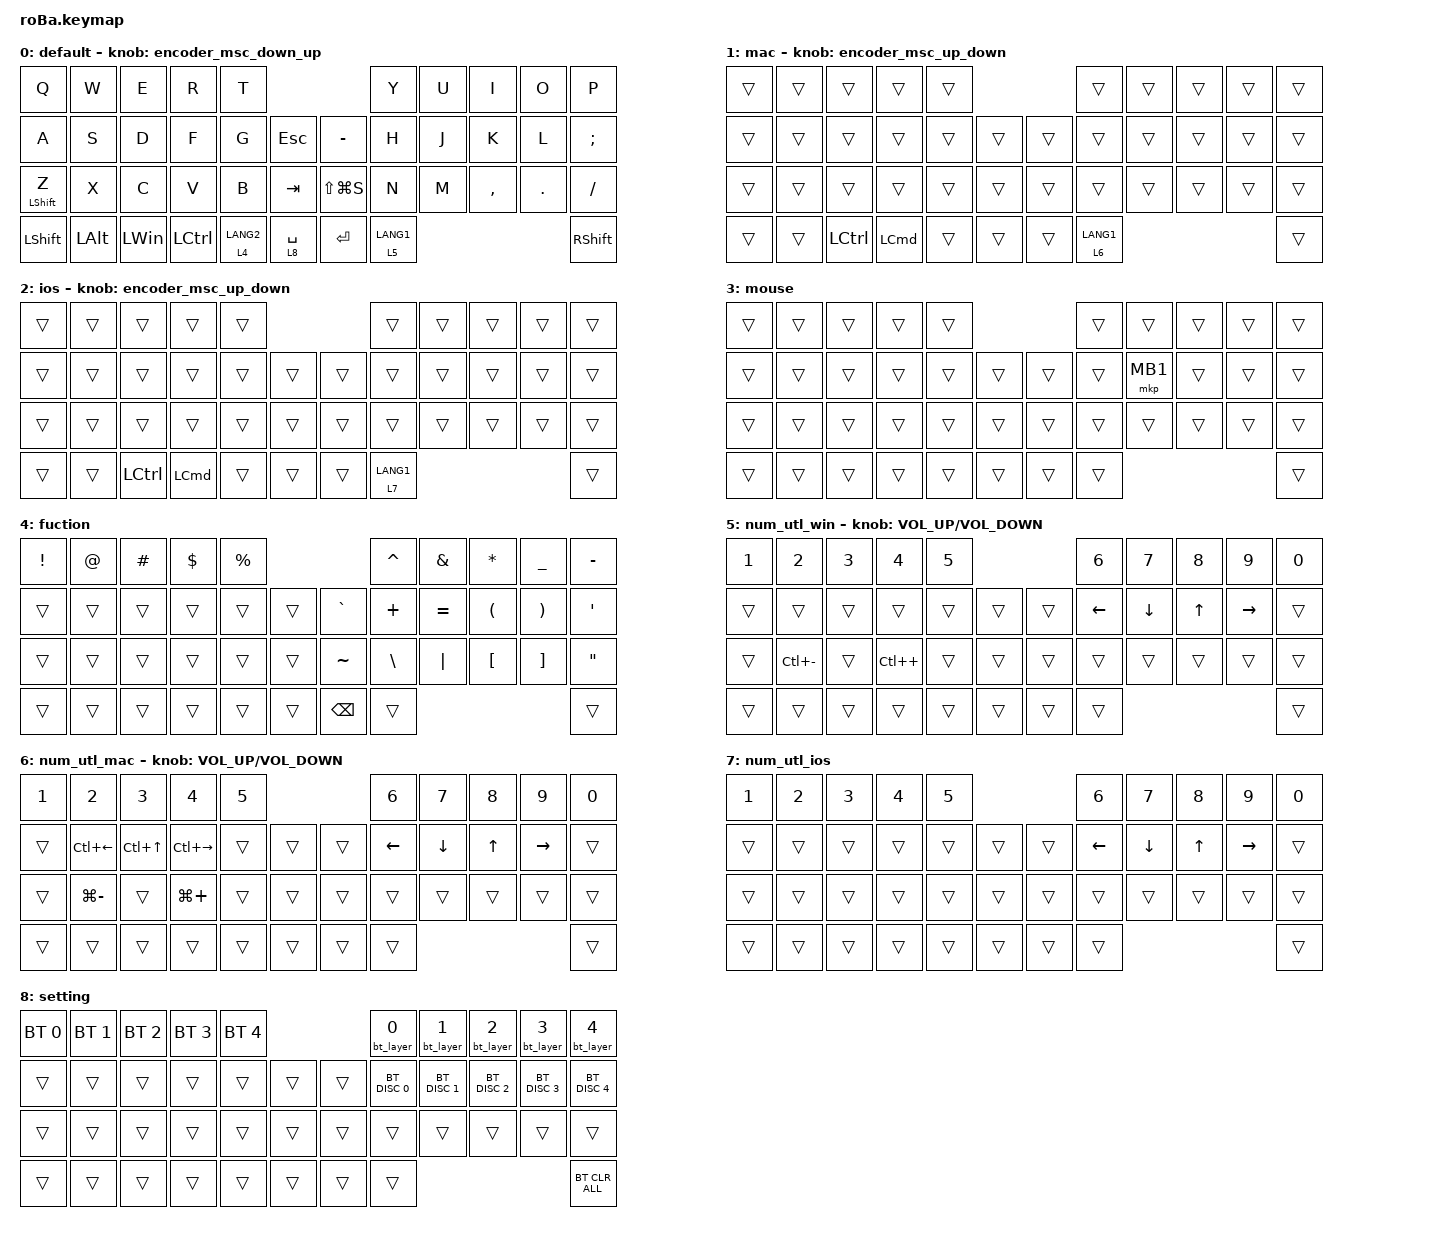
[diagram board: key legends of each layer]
#include <behaviors/bt_layer.dtsi>
#include <behaviors.dtsi>
#include <dt-bindings/zmk/bt.h>
#include <dt-bindings/zmk/keys.h>
#include <dt-bindings/zmk/pointing.h>

#define ZMK_POINTING_DEFAULT_SCRL_VAL 80

&mt {
    flavor = "balanced";
    quick-tap-ms = <0>;
};

&trackball {
    automouse-layer = <3>;
    scroll-layers = <8>;

    // arrows {
    //     layers = <3>;
    //     bindings =
    //         <&kp RIGHT_ARROW>,
    //         <&kp LEFT_ARROW>,
    //         <&kp UP_ARROW>,
    //         <&kp DOWN_ARROW>;
    //     tick = <10>;
    //     wait-ms = <5>;
    //     tap-ms = <5>;
    // };
};

/ {
    combos {
        compatible = "zmk,combos";

        tab {
            bindings = <&kp TAB>;
            key-positions = <0 1>;
        };

        click {
            bindings = <&mkp MB1>;
            key-positions = <18 19>;
        };

        rclick {
            bindings = <&mkp MB2>;
            key-positions = <19 20>;
        };
    };

    macros {
        to_layer_0: to_layer_0 {
            compatible = "zmk,behavior-macro-one-param";
            #binding-cells = <1>;
            bindings = <&to 0 &macro_param_1to1 &kp MACRO_PLACEHOLDER>;
            label = "TO_LAYER_0";
        };
    };

    behaviors {
        lt_to_layer_0: lt_to_layer_0 {
            compatible = "zmk,behavior-hold-tap";
            label = "LAYER_TAP_TO_0";
            bindings = <&mo>, <&to_layer_0>;

            #binding-cells = <2>;
            tapping-term-ms = <200>;
        };

        encoder_msc_down_up: encoder_msc_down_up {
            compatible = "zmk,behavior-sensor-rotate";
            label = "ENCODER_MSC_DOWN_UP";
            #sensor-binding-cells = <0>;
            bindings = <&msc SCRL_DOWN>, <&msc SCRL_UP>;

            tap-ms = <20>;
        };

        encoder_msc_up_down: encoder_msc_up_down {
            compatible = "zmk,behavior-sensor-rotate";
            label = "ENCODER_MSC_UP_DOWN";
            #sensor-binding-cells = <0>;
            bindings = <&msc SCRL_UP>, <&msc SCRL_DOWN>;

            tap-ms = <20>;
        };
    };

    keymap {
        compatible = "zmk,keymap";

        default {
            bindings = <
&kp Q             &kp W         &kp E         &kp R      &kp T                                        &kp Y        &kp U  &kp I      &kp O    &kp P
&kp A             &kp S         &kp D         &kp F      &kp G        &kp ESCAPE       &kp MINUS      &kp H        &kp J  &kp K      &kp L    &kp SEMI
&mt LEFT_SHIFT Z  &kp X         &kp C         &kp V      &kp B        &kp TAB          &kp LS(LG(S))  &kp N        &kp M  &kp COMMA  &kp DOT  &kp FSLH
&kp LEFT_SHIFT    &kp LEFT_ALT  &kp LEFT_WIN  &kp LCTRL  &lt 4 LANG2  &lt 8 SPACE      &kp RET        &lt 5 LANG1                             &kp RSHFT
            >;

            sensor-bindings = <&encoder_msc_down_up>;
        };

        mac {
            bindings = <
&trans  &trans  &trans     &trans            &trans                      &trans       &trans  &trans  &trans  &trans
&trans  &trans  &trans     &trans            &trans  &trans      &trans  &trans       &trans  &trans  &trans  &trans
&trans  &trans  &trans     &trans            &trans  &trans      &trans  &trans       &trans  &trans  &trans  &trans
&trans  &trans  &kp LCTRL  &kp LEFT_COMMAND  &trans  &trans      &trans  &lt 6 LANG1                          &trans
            >;

            sensor-bindings = <&encoder_msc_up_down>;
        };

        ios {
            bindings = <
&trans  &trans  &trans     &trans            &trans                      &trans       &trans  &trans  &trans  &trans
&trans  &trans  &trans     &trans            &trans  &trans      &trans  &trans       &trans  &trans  &trans  &trans
&trans  &trans  &trans     &trans            &trans  &trans      &trans  &trans       &trans  &trans  &trans  &trans
&trans  &trans  &kp LCTRL  &kp LEFT_COMMAND  &trans  &trans      &trans  &lt 7 LANG1                          &trans
            >;

            sensor-bindings = <&encoder_msc_up_down>;
        };

        mouse {
            bindings = <
&trans  &trans  &trans  &trans  &trans                      &trans  &trans    &trans  &trans  &trans
&trans  &trans  &trans  &trans  &trans  &trans      &trans  &trans  &mkp MB1  &trans  &trans  &trans
&trans  &trans  &trans  &trans  &trans  &trans      &trans  &trans  &trans    &trans  &trans  &trans
&trans  &trans  &trans  &trans  &trans  &trans      &trans  &trans                            &trans
            >;
        };

        fuction {
            bindings = <
&kp EXCLAMATION  &kp AT_SIGN  &kp HASH  &kp DOLLAR  &kp PERCENT                         &kp CARET  &kp AMPERSAND  &kp ASTERISK          &kp UNDER              &kp MINUS
&trans           &trans       &trans    &trans      &trans       &trans      &kp GRAVE  &kp PLUS   &kp EQUAL      &kp LEFT_PARENTHESIS  &kp RIGHT_PARENTHESIS  &kp SQT
&trans           &trans       &trans    &trans      &trans       &trans      &kp TILDE  &kp BSLH   &kp PIPE       &kp LBKT              &kp RBKT               &kp DOUBLE_QUOTES
&trans           &trans       &trans    &trans      &trans       &trans      &kp BSPC   &trans                                                                 &trans
            >;
        };

        num_utl_win {
            bindings = <
&kp N1  &kp N2         &kp N3  &kp N4        &kp N5                      &kp N6    &kp N7    &kp N8  &kp N9     &kp N0
&trans  &trans         &trans  &trans        &trans  &trans      &trans  &kp LEFT  &kp DOWN  &kp UP  &kp RIGHT  &trans
&trans  &kp LC(MINUS)  &trans  &kp LC(PLUS)  &trans  &trans      &trans  &trans    &trans    &trans  &trans     &trans
&trans  &trans         &trans  &trans        &trans  &trans      &trans  &trans                                 &trans
            >;

            sensor-bindings = <&inc_dec_kp C_VOLUME_UP C_VOLUME_DOWN>;
        };

        num_utl_mac {
            bindings = <
&kp N1  &kp N2         &kp N3      &kp N4         &kp N5                      &kp N6    &kp N7    &kp N8  &kp N9     &kp N0
&trans  &kp LC(LEFT)   &kp LC(UP)  &kp LC(RIGHT)  &trans  &trans      &trans  &kp LEFT  &kp DOWN  &kp UP  &kp RIGHT  &trans
&trans  &kp LG(MINUS)  &trans      &kp LG(PLUS)   &trans  &trans      &trans  &trans    &trans    &trans  &trans     &trans
&trans  &trans         &trans      &trans         &trans  &trans      &trans  &trans                                 &trans
            >;

            sensor-bindings = <&inc_dec_kp C_VOLUME_UP C_VOLUME_DOWN>;
        };

        num_utl_ios {
            bindings = <
&kp N1  &kp N2  &kp N3  &kp N4  &kp N5                      &kp N6    &kp N7    &kp N8  &kp N9     &kp N0
&trans  &trans  &trans  &trans  &trans  &trans      &trans  &kp LEFT  &kp DOWN  &kp UP  &kp RIGHT  &trans
&trans  &trans  &trans  &trans  &trans  &trans      &trans  &trans    &trans    &trans  &trans     &trans
&trans  &trans  &trans  &trans  &trans  &trans      &trans  &trans                                 &trans
            >;
        };

        setting {
            bindings = <
&bt BT_SEL 0  &bt BT_SEL 1  &bt BT_SEL 2  &bt BT_SEL 3  &bt BT_SEL 4                      &bt_layer 0    &bt_layer 1    &bt_layer 2    &bt_layer 3    &bt_layer 4
&trans        &trans        &trans        &trans        &trans        &trans      &trans  &bt BT_DISC 0  &bt BT_DISC 1  &bt BT_DISC 2  &bt BT_DISC 3  &bt BT_DISC 4
&trans        &trans        &trans        &trans        &trans        &trans      &trans  &trans         &trans         &trans         &trans         &trans
&trans        &trans        &trans        &trans        &trans        &trans      &trans  &trans                                                      &bt BT_CLR_ALL
            >;
        };
    };
};
